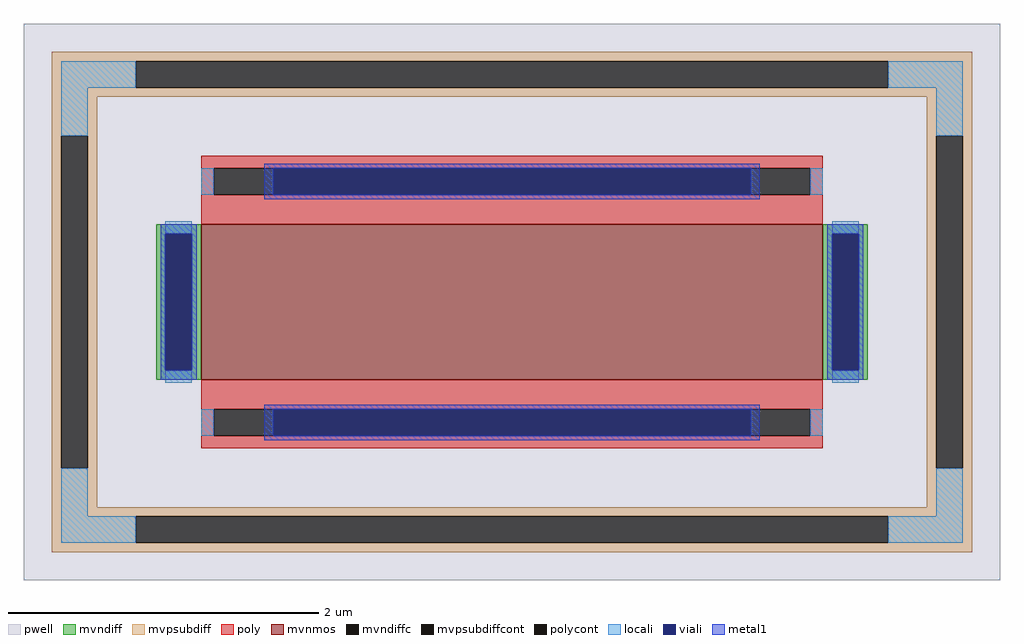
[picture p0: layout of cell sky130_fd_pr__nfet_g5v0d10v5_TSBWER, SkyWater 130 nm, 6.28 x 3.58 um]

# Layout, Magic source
magic
tech sky130A
magscale 1 2
<< pwell >>
rect -628 -358 628 358
<< mvnmos >>
rect -400 -100 400 100
<< mvndiff >>
rect -458 88 -400 100
rect -458 -88 -446 88
rect -412 -88 -400 88
rect -458 -100 -400 -88
rect 400 88 458 100
rect 400 -88 412 88
rect 446 -88 458 88
rect 400 -100 458 -88
<< mvndiffc >>
rect -446 -88 -412 88
rect 412 -88 446 88
<< mvpsubdiff >>
rect -592 310 592 322
rect -592 276 -484 310
rect 484 276 592 310
rect -592 264 592 276
rect -592 214 -534 264
rect -592 -214 -580 214
rect -546 -214 -534 214
rect 534 214 592 264
rect -592 -264 -534 -214
rect 534 -214 546 214
rect 580 -214 592 214
rect 534 -264 592 -214
rect -592 -276 592 -264
rect -592 -310 -484 -276
rect 484 -310 592 -276
rect -592 -322 592 -310
<< mvpsubdiffcont >>
rect -484 276 484 310
rect -580 -214 -546 214
rect 546 -214 580 214
rect -484 -310 484 -276
<< poly >>
rect -400 172 400 188
rect -400 138 -384 172
rect 384 138 400 172
rect -400 100 400 138
rect -400 -138 400 -100
rect -400 -172 -384 -138
rect 384 -172 400 -138
rect -400 -188 400 -172
<< polycont >>
rect -384 138 384 172
rect -384 -172 384 -138
<< locali >>
rect -580 276 -484 310
rect 484 276 580 310
rect -580 214 -546 276
rect 546 214 580 276
rect -400 138 -384 172
rect 384 138 400 172
rect -446 88 -412 104
rect -446 -104 -412 -88
rect 412 88 446 104
rect 412 -104 446 -88
rect -400 -172 -384 -138
rect 384 -172 400 -138
rect -580 -276 -546 -214
rect 546 -276 580 -214
rect -580 -310 -484 -276
rect 484 -310 580 -276
<< viali >>
rect -307 138 307 172
rect -446 -88 -412 88
rect 412 -88 446 88
rect -307 -172 307 -138
<< metal1 >>
rect -319 172 319 178
rect -319 138 -307 172
rect 307 138 319 172
rect -319 132 319 138
rect -452 88 -406 100
rect -452 -88 -446 88
rect -412 -88 -406 88
rect -452 -100 -406 -88
rect 406 88 452 100
rect 406 -88 412 88
rect 446 -88 452 88
rect 406 -100 452 -88
rect -319 -138 319 -132
rect -319 -172 -307 -138
rect 307 -172 319 -138
rect -319 -178 319 -172
<< properties >>
string FIXED_BBOX -563 -293 563 293
string gencell sky130_fd_pr__nfet_g5v0d10v5
string library sky130
string parameters w 1 l 4 m 1 nf 1 diffcov 100 polycov 100 guard 1 glc 1 grc 1 gtc 1 gbc 1 tbcov 100 rlcov 100 topc 1 botc 1 poverlap 0 doverlap 1 lmin 0.50 wmin 0.42 compatible {sky130_fd_pr__nfet_01v8 sky130_fd_pr__nfet_01v8_lvt  sky130_fd_bs_flash__special_sonosfet_star  sky130_fd_pr__nfet_g5v0d10v5 sky130_fd_pr__nfet_05v0_nvt  sky130_fd_pr__nfet_03v3_nvt} full_metal 1 viasrc 100 viadrn 100 viagate 80 viagb 0 viagr 0 viagl 0 viagt 0
<< end >>
